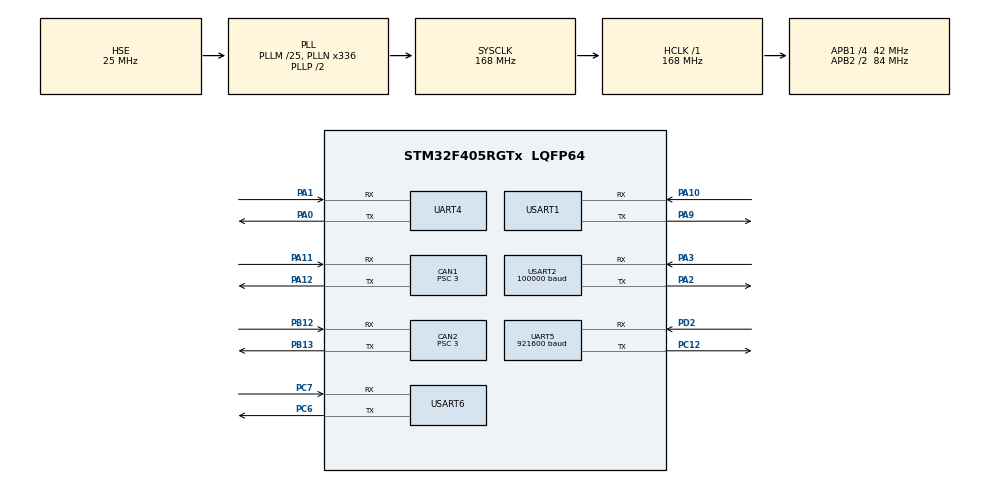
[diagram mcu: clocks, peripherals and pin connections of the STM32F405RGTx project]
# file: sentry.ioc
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CAN1.ABOM=ENABLE
CAN1.BS1=CAN_BS1_9TQ
CAN1.BS2=CAN_BS2_4TQ
CAN1.CalculateBaudRate=1000000
CAN1.CalculateTimeBit=1000
CAN1.CalculateTimeQuantum=71.42857142857143
CAN1.NART=DISABLE
CAN1.Prescaler=3
CAN1.TXFP=ENABLE
CAN2.ABOM=ENABLE
CAN2.BS1=CAN_BS1_9TQ
CAN2.BS2=CAN_BS2_4TQ
CAN2.CalculateBaudRate=1000000
CAN2.CalculateTimeBit=1000
CAN2.CalculateTimeQuantum=71.42857142857143
CAN2.Prescaler=3
CAN2.TXFP=ENABLE
Dma.Request0=UART4_RX
Dma.Request1=USART2_RX
Dma.Request2=USART1_RX
Dma.UART4_RX.0.Direction=DMA_PERIPH_TO_MEMORY
Dma.UART4_RX.0.FIFOMode=DMA_FIFOMODE_DISABLE
Dma.UART4_RX.0.Instance=DMA1_Stream2
Dma.UART4_RX.0.MemDataAlignment=DMA_MDATAALIGN_BYTE
Dma.UART4_RX.0.MemInc=DMA_MINC_ENABLE
Dma.UART4_RX.0.Mode=DMA_CIRCULAR
Dma.UART4_RX.0.PeriphDataAlignment=DMA_PDATAALIGN_BYTE
Dma.UART4_RX.0.PeriphInc=DMA_PINC_DISABLE
Dma.UART4_RX.0.Priority=DMA_PRIORITY_MEDIUM
Dma.USART1_RX.2.Direction=DMA_PERIPH_TO_MEMORY
Dma.USART1_RX.2.FIFOMode=DMA_FIFOMODE_DISABLE
Dma.USART1_RX.2.Instance=DMA2_Stream2
Dma.USART1_RX.2.MemDataAlignment=DMA_MDATAALIGN_BYTE
Dma.USART1_RX.2.MemInc=DMA_MINC_ENABLE
Dma.USART1_RX.2.Mode=DMA_CIRCULAR
Dma.USART1_RX.2.PeriphDataAlignment=DMA_PDATAALIGN_BYTE
Dma.USART1_RX.2.PeriphInc=DMA_PINC_DISABLE
Dma.USART1_RX.2.Priority=DMA_PRIORITY_VERY_HIGH
Dma.USART2_RX.1.Direction=DMA_PERIPH_TO_MEMORY
Dma.USART2_RX.1.FIFOMode=DMA_FIFOMODE_DISABLE
Dma.USART2_RX.1.Instance=DMA1_Stream5
Dma.USART2_RX.1.MemDataAlignment=DMA_MDATAALIGN_BYTE
Dma.USART2_RX.1.MemInc=DMA_MINC_ENABLE
Dma.USART2_RX.1.Mode=DMA_CIRCULAR
Dma.USART2_RX.1.PeriphDataAlignment=DMA_PDATAALIGN_BYTE
Dma.USART2_RX.1.PeriphInc=DMA_PINC_DISABLE
Dma.USART2_RX.1.Priority=DMA_PRIORITY_VERY_HIGH
Mcu.Family=STM32F4
Mcu.Name=STM32F405RGTx
Mcu.Package=LQFP64
NVIC.CAN1_RX0_IRQn=true\:6\:0\:true\:false\:true\:true\:true\:true
NVIC.CAN1_TX_IRQn=true\:4\:0\:true\:false\:true\:true\:true\:true
NVIC.CAN2_RX0_IRQn=true\:6\:0\:true\:false\:true\:true\:true\:true
NVIC.CAN2_TX_IRQn=true\:4\:0\:true\:false\:true\:true\:true\:true
NVIC.DMA1_Stream2_IRQn=true\:0\:0\:false\:false\:true\:false\:true\:true
NVIC.DMA1_Stream5_IRQn=true\:0\:0\:false\:false\:true\:false\:true\:true
NVIC.DMA2_Stream2_IRQn=true\:0\:0\:false\:false\:true\:false\:true\:true
NVIC.PriorityGroup=NVIC_PRIORITYGROUP_4
NVIC.TIM3_IRQn=true\:8\:0\:true\:false\:true\:true\:true\:true
NVIC.TIM5_IRQn=true\:1\:0\:true\:false\:true\:true\:true\:true
NVIC.TIM8_TRG_COM_TIM14_IRQn=true\:15\:0\:false\:false\:true\:false\:true\:true
NVIC.TimeBase=TIM8_TRG_COM_TIM14_IRQn
NVIC.TimeBaseIP=TIM14
NVIC.UART4_IRQn=true\:2\:0\:true\:false\:true\:true\:true\:true
NVIC.UART5_IRQn=true\:0\:0\:true\:false\:true\:true\:true\:true
NVIC.USART1_IRQn=true\:2\:0\:true\:false\:true\:true\:true\:true
NVIC.USART2_IRQn=true\:3\:0\:true\:false\:true\:true\:true\:true
NVIC.USART6_IRQn=true\:10\:0\:true\:false\:true\:true\:true\:true
PA0-WKUP.Mode=Asynchronous
PA0-WKUP.Signal=UART4_TX
PA1.Mode=Asynchronous
PA1.Signal=UART4_RX
PA10.Mode=Asynchronous
PA10.Signal=USART1_RX
PA11.Mode=CAN_Activate
PA11.Signal=CAN1_RX
PA12.Mode=CAN_Activate
PA12.Signal=CAN1_TX
PA13.Mode=Serial_Wire
PA13.Signal=SYS_JTMS-SWDIO
PA14.Mode=Serial_Wire
PA14.Signal=SYS_JTCK-SWCLK
PA2.Mode=Asynchronous
PA2.Signal=USART2_TX
PA3.Mode=Asynchronous
PA3.Signal=USART2_RX
PA9.Mode=Asynchronous
PA9.Signal=USART1_TX
PB12.Mode=CAN_Activate
PB12.Signal=CAN2_RX
PB13.Mode=CAN_Activate
PB13.Signal=CAN2_TX
PC12.Mode=Asynchronous
PC12.Signal=UART5_TX
PC6.Mode=Asynchronous
PC6.Signal=USART6_TX
PC7.Mode=Asynchronous
PC7.Signal=USART6_RX
PD2.Mode=Asynchronous
PD2.Signal=UART5_RX
PH0-OSC_IN.Mode=HSE-External-Oscillator
PH0-OSC_IN.Signal=RCC_OSC_IN
PH1-OSC_OUT.Mode=HSE-External-Oscillator
PH1-OSC_OUT.Signal=RCC_OSC_OUT
ProjectManager.HeapSize=0x200
ProjectManager.StackSize=0x400
ProjectManager.TargetToolchain=MDK-ARM V5
RCC.48MHZClocksFreq_Value=84000000
RCC.AHBFreq_Value=168000000
RCC.APB1CLKDivider=RCC_HCLK_DIV4
RCC.APB1Freq_Value=42000000
RCC.APB1TimFreq_Value=84000000
RCC.APB2CLKDivider=RCC_HCLK_DIV2
RCC.APB2Freq_Value=84000000
RCC.APB2TimFreq_Value=168000000
RCC.CortexFreq_Value=168000000
RCC.HCLKFreq_Value=168000000
RCC.HSE_VALUE=25000000
RCC.HSI_VALUE=16000000
RCC.LSE_VALUE=32768
RCC.PLLM=25
RCC.PLLN=336
RCC.PLLSourceVirtual=RCC_PLLSOURCE_HSE
RCC.SYSCLKFreq_VALUE=168000000
RCC.SYSCLKSource=RCC_SYSCLKSOURCE_PLLCLK
RCC.VCOOutputFreq_Value=336000000
TIM3.Period=5000-1
TIM3.Prescaler=84-1
TIM5.Period=3000-1
TIM5.Prescaler=84-1
UART4.VirtualMode=Asynchronous
UART5.BaudRate=921600
UART5.VirtualMode=Asynchronous
USART1.VirtualMode=VM_ASYNC
USART2.BaudRate=100000
USART2.VirtualMode=VM_ASYNC
USART6.VirtualMode=VM_ASYNC
VP_SYS_VS_tim14.Mode=TIM14
VP_TIM3_VS_ClockSourceINT.Mode=Internal
VP_TIM5_VS_ClockSourceINT.Mode=Internal
board=custom

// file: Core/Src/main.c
/* USER CODE BEGIN Header */
/**
  ******************************************************************************
  * @file           : main.c
  * @brief          : Main program body
  ******************************************************************************
  * @attention
  *
  * Copyright (c) 2023 STMicroelectronics.
  * All rights reserved.
  *
  * This software is licensed under terms that can be found in the LICENSE file
  * in the root directory of this software component.
  * If no LICENSE file comes with this software, it is provided AS-IS.
  *
  ******************************************************************************
  */
/* USER CODE END Header */
#include "main.h"
#include "can.h"
#include "dma.h"
#include "tim.h"
#include "usart.h"
#include "gpio.h"

/* USER CODE BEGIN Includes */
#include "bsp_rc.h"
#include "packet.h"
#include "imu_data_decode.h"
#include "can_receive.h"
#include "chassis_control.h"
#include "holder_control.h"
#include "rifle.h"
#include "pid_config.h"
#include "vofa.h"
#include "visual communication.h"
#include "referee.h"
/* USER CODE END Includes */

/* USER CODE BEGIN PV */
extern uint8_t sbus_rx_buffer[2][RC_FRAME_LENGTH];
extern uint8_t visual_data[6];
extern uint8_t  Judge_Buffer[ JUDGE_BUFFER_LEN ];
/* USER CODE END PV */

void SystemClock_Config(void);

int main(void)
{

  /* MCU Configuration--------------------------------------------------------*/

  /* Reset of all peripherals, Initializes the Flash interface and the Systick. */
  HAL_Init();

  /* Configure the system clock */
  SystemClock_Config();

  /* Initialize all configured peripherals */
  MX_GPIO_Init();
  MX_DMA_Init();
  MX_UART5_Init();
  MX_UART4_Init();
  MX_USART1_UART_Init();
  MX_USART6_UART_Init();
  MX_TIM3_Init();
  MX_TIM5_Init();
  MX_CAN1_Init();
  MX_CAN2_Init();
  MX_USART2_UART_Init();
  /* USER CODE BEGIN 2 */
	//__HAL_UART_ENABLE_IT(&huart2,UART_IT_IDLE);
	imu_data_decode_init();
	HAL_TIM_Base_Start_IT(&htim3);
	HAL_TIM_Base_Start_IT(&htim5);
	__HAL_UART_ENABLE_IT(&huart5, UART_IT_RXNE);
	__HAL_UART_ENABLE_IT(&huart4, UART_IT_IDLE);
	__HAL_UART_ENABLE_IT(&huart1, UART_IT_IDLE);
	referee_init(Judge_Buffer,100);
	RC_init(sbus_rx_buffer[0], sbus_rx_buffer[1], SBUS_RX_BUF_NUM);
	can_filter_init();
	pid_parameter_setting();
	Visual_init(visual_data,6);
  /* USER CODE END 2 */

  /* Infinite loop */
  while (1)
  {

  }
}

void SystemClock_Config(void)
{
  RCC_OscInitTypeDef RCC_OscInitStruct = {0};
  RCC_ClkInitTypeDef RCC_ClkInitStruct = {0};

  /** Configure the main internal regulator output voltage
  */
  __HAL_RCC_PWR_CLK_ENABLE();
  __HAL_PWR_VOLTAGESCALING_CONFIG(PWR_REGULATOR_VOLTAGE_SCALE1);

  /** Initializes the RCC Oscillators according to the specified parameters
  * in the RCC_OscInitTypeDef structure.
  */
  RCC_OscInitStruct.OscillatorType = RCC_OSCILLATORTYPE_HSE;
  RCC_OscInitStruct.HSEState = RCC_HSE_ON;
  RCC_OscInitStruct.PLL.PLLState = RCC_PLL_ON;
  RCC_OscInitStruct.PLL.PLLSource = RCC_PLLSOURCE_HSE;
  RCC_OscInitStruct.PLL.PLLM = 25;
  RCC_OscInitStruct.PLL.PLLN = 336;
  RCC_OscInitStruct.PLL.PLLP = RCC_PLLP_DIV2;
  RCC_OscInitStruct.PLL.PLLQ = 4;
  if (HAL_RCC_OscConfig(&RCC_OscInitStruct) != HAL_OK)
  {
    Error_Handler();
  }

  /** Initializes the CPU, AHB and APB buses clocks
  */
  RCC_ClkInitStruct.ClockType = RCC_CLOCKTYPE_HCLK|RCC_CLOCKTYPE_SYSCLK
                              |RCC_CLOCKTYPE_PCLK1|RCC_CLOCKTYPE_PCLK2;
  RCC_ClkInitStruct.SYSCLKSource = RCC_SYSCLKSOURCE_PLLCLK;
  RCC_ClkInitStruct.AHBCLKDivider = RCC_SYSCLK_DIV1;
  RCC_ClkInitStruct.APB1CLKDivider = RCC_HCLK_DIV4;
  RCC_ClkInitStruct.APB2CLKDivider = RCC_HCLK_DIV2;

  if (HAL_RCC_ClockConfig(&RCC_ClkInitStruct, FLASH_LATENCY_5) != HAL_OK)
  {
    Error_Handler();
  }
}

/* USER CODE BEGIN 4 */
float holder_place[4];
extern CascadePID double_pid[2];
extern signed short int h_2;
extern signed short int d_1;
uint8_t ID;
int16_t Acc[3];
int16_t Gyo[3];
int16_t Mag[3];
float Eular[3];
float Quat[4];
float holder_place[4];/*云台波形*/
extern float actual_speed[8];/*底盘波形*/
extern float rifle_data[6];         /*摩擦轮波形*/
/* USER CODE END 4 */

void HAL_TIM_PeriodElapsedCallback(TIM_HandleTypeDef *htim)
{
  if (htim->Instance == TIM14) {
    HAL_IncTick();
  }
  /* USER CODE BEGIN Callback 1 */
	if (htim->Instance == TIM3) {
    HAL_IncTick();
		visual_sent();
		//chassis_control();                                     /*底盘控制*/
		holder_control();                                      /*云台控制*/
		//rifle_control();                                       /*发射机构*/
		CAN2_Set_Current(0,h_2,d_1,0);                         /*pitch和拨盘必须同时发送*/

		zero_drift_judge();                                    /*遥控器零漂处理*/
		offline_contrl_judge();                                /*遥控器掉线处理*/
		sent_string(&huart6,(char *)holder_place,sizeof(holder_place));//速度波形
		//visual_sent();
  }
	if (htim->Instance == TIM5) {
    HAL_IncTick();
		get_raw_acc(Acc);
    get_raw_gyo(Gyo);
    get_raw_mag(Mag);
    get_eular(Eular);
    get_quat(Quat);
    get_id(&ID);
		holder_place[0]=Eular[2];
		holder_place[1]=double_pid[holder_Yaw].outer.target;
		holder_place[2]=Eular[0];
		holder_place[3]=double_pid[holder_Pitch].outer.target;
  }
  /* USER CODE END Callback 1 */
}

void Error_Handler(void)
{
  __disable_irq();
  while (1)
  {
  }
}
